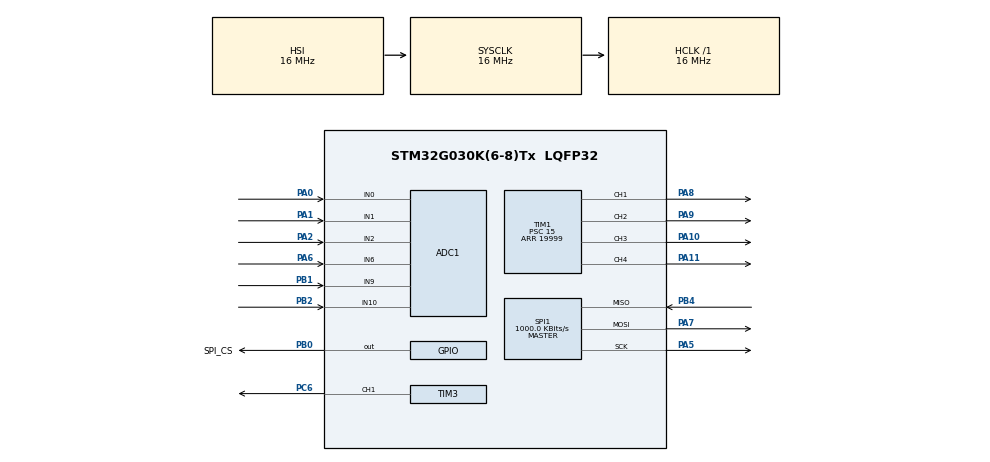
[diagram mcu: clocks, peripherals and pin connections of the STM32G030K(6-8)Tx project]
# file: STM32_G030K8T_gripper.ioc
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ADC1.Channel-0\#ChannelRegularConversion=ADC_CHANNEL_0
ADC1.Channel-1\#ChannelRegularConversion=ADC_CHANNEL_1
ADC1.Channel-2\#ChannelRegularConversion=ADC_CHANNEL_2
ADC1.ClockPrescaler=ADC_CLOCK_ASYNC_DIV2
ADC1.ContinuousConvMode=DISABLE
ADC1.DMAContinuousRequests=ENABLE
ADC1.EOCSelection=ADC_EOC_SEQ_CONV
ADC1.ExternalTrigConv=ADC_EXTERNALTRIG_T3_TRGO
ADC1.NbrOfConversion=3
ADC1.NbrOfConversionFlag=1
ADC1.Overrun=ADC_OVR_DATA_OVERWRITTEN
ADC1.Rank-0\#ChannelRegularConversion=1
ADC1.Rank-1\#ChannelRegularConversion=2
ADC1.Rank-2\#ChannelRegularConversion=3
ADC1.SamplingTime-0\#ChannelRegularConversion=ADC_SAMPLINGTIME_COMMON_1
ADC1.SamplingTime-1\#ChannelRegularConversion=ADC_SAMPLINGTIME_COMMON_2
ADC1.SamplingTime-2\#ChannelRegularConversion=ADC_SAMPLINGTIME_COMMON_1
ADC1.SamplingTimeCommon1=ADC_SAMPLETIME_3CYCLES_5
ADC1.SamplingTimeCommon2=ADC_SAMPLETIME_3CYCLES_5
ADC1.SelectedChannel=ADC_CHANNEL_0|ADC_CHANNEL_1|ADC_CHANNEL_2|ADC_CHANNEL_6|ADC_CHANNEL_9|ADC_CHANNEL_10
ADC1.master=1
Dma.ADC1.0.Direction=DMA_PERIPH_TO_MEMORY
Dma.ADC1.0.EventEnable=DISABLE
Dma.ADC1.0.Instance=DMA1_Channel1
Dma.ADC1.0.MemDataAlignment=DMA_MDATAALIGN_HALFWORD
Dma.ADC1.0.MemInc=DMA_MINC_ENABLE
Dma.ADC1.0.Mode=DMA_CIRCULAR
Dma.ADC1.0.PeriphDataAlignment=DMA_PDATAALIGN_HALFWORD
Dma.ADC1.0.PeriphInc=DMA_PINC_DISABLE
Dma.ADC1.0.Polarity=HAL_DMAMUX_REQ_GEN_RISING
Dma.ADC1.0.Priority=DMA_PRIORITY_LOW
Dma.ADC1.0.RequestNumber=1
Dma.ADC1.0.SignalID=NONE
Dma.ADC1.0.SyncEnable=DISABLE
Dma.ADC1.0.SyncPolarity=HAL_DMAMUX_SYNC_NO_EVENT
Dma.ADC1.0.SyncRequestNumber=1
Dma.ADC1.0.SyncSignalID=NONE
Dma.Request0=ADC1
Mcu.Family=STM32G0
Mcu.Name=STM32G030K(6-8)Tx
Mcu.Package=LQFP32
NVIC.ADC1_IRQn=true\:0\:0\:false\:false\:true\:true\:true\:true
NVIC.DMA1_Channel1_IRQn=true\:0\:0\:false\:false\:true\:false\:true\:true
NVIC.TIM14_IRQn=true\:0\:0\:false\:false\:true\:true\:true\:true
NVIC.TIM3_IRQn=true\:0\:0\:false\:false\:true\:true\:true\:true
PA0.Mode=IN0
PA0.Signal=ADC1_IN0
PA1.Mode=IN1
PA1.Signal=ADC1_IN1
PA10.Signal=S_TIM1_CH3
PA11\ [PA9].Signal=S_TIM1_CH4
PA13.Mode=Serial_Wire
PA13.Signal=SYS_SWDIO
PA14-BOOT0.Mode=Serial_Wire
PA14-BOOT0.Signal=SYS_SWCLK
PA2.Mode=IN2
PA2.Signal=ADC1_IN2
PA5.Mode=Full_Duplex_Master
PA5.Signal=SPI1_SCK
PA6.Mode=IN6
PA6.Signal=ADC1_IN6
PA7.Mode=Full_Duplex_Master
PA7.Signal=SPI1_MOSI
PA8.Signal=S_TIM1_CH1
PA9.Signal=S_TIM1_CH2
PB0.GPIO_Label=SPI_CS
PB0.GPIO_Speed=GPIO_SPEED_FREQ_HIGH
PB0.PinState=GPIO_PIN_SET
PB0.Signal=GPIO_Output
PB1.Mode=IN9
PB1.Signal=ADC1_IN9
PB2.Mode=IN10
PB2.Signal=ADC1_IN10
PB4.Mode=Full_Duplex_Master
PB4.Signal=SPI1_MISO
PC6.Signal=S_TIM3_CH1
ProjectManager.HeapSize=0x200
ProjectManager.StackSize=0x400
ProjectManager.TargetToolchain=STM32CubeIDE
RCC.AHBFreq_Value=16000000
RCC.CortexFreq_Value=16000000
RCC.EXTERNAL_CLOCK_VALUE=12288000
RCC.HCLKFreq_Value=16000000
RCC.HSE_VALUE=8000000
RCC.HSI_VALUE=16000000
RCC.LSE_VALUE=32768
RCC.SYSCLKFreq_VALUE=16000000
RCC.VCOOutputFreq_Value=128000000
SH.S_TIM1_CH1.0=TIM1_CH1,PWM Generation1 CH1
SH.S_TIM1_CH2.0=TIM1_CH2,PWM Generation2 CH2
SH.S_TIM1_CH3.0=TIM1_CH3,PWM Generation3 CH3
SH.S_TIM1_CH4.0=TIM1_CH4,PWM Generation4 CH4
SH.S_TIM3_CH1.0=TIM3_CH1,PWM Generation1 CH1
SPI1.BaudRatePrescaler=SPI_BAUDRATEPRESCALER_16
SPI1.CalculateBaudRate=1000.0 KBits/s
SPI1.Direction=SPI_DIRECTION_2LINES
SPI1.Mode=SPI_MODE_MASTER
SPI1.VirtualType=VM_MASTER
TIM1.AutoReloadPreload=TIM_AUTORELOAD_PRELOAD_ENABLE
TIM1.Channel-PWM\ Generation1\ CH1=TIM_CHANNEL_1
TIM1.Channel-PWM\ Generation2\ CH2=TIM_CHANNEL_2
TIM1.Channel-PWM\ Generation3\ CH3=TIM_CHANNEL_3
TIM1.Channel-PWM\ Generation4\ CH4=TIM_CHANNEL_4
TIM1.Period=19999
TIM1.Prescaler=15
TIM14.Period=29999
TIM14.Prescaler=15
TIM3.AutoReloadPreload=TIM_AUTORELOAD_PRELOAD_ENABLE
TIM3.Channel-PWM\ Generation1\ CH1=TIM_CHANNEL_1
TIM3.Period=499
TIM3.Prescaler=15
TIM3.TIM_MasterOutputTrigger=TIM_TRGO_UPDATE
VP_TIM14_VS_ClockSourceINT.Mode=Enable_Timer
VP_TIM3_VS_ClockSourceINT.Mode=Internal
board=custom

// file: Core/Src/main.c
/* USER CODE BEGIN Header */
/**
  ******************************************************************************
  * @file           : main.c
  * @brief          : Main program body
  ******************************************************************************
  * @attention
  *
  * Copyright (c) 2023 STMicroelectronics.
  * All rights reserved.
  *
  * This software is licensed under terms that can be found in the LICENSE file
  * in the root directory of this software component.
  * If no LICENSE file comes with this software, it is provided AS-IS.
  *
  ******************************************************************************
  */
/* USER CODE END Header */
#include "main.h"
#include "adc.h"
#include "dma.h"
#include "spi.h"
#include "tim.h"
#include "gpio.h"

/* USER CODE BEGIN Includes */
#include "../../App/inc/servo_driver.h"
#include "../../App/inc/MCP3008.h"
#include "math.h"
#include "stdbool.h"
/* USER CODE END Includes */

/* USER CODE BEGIN PTD */
#define RMS_FRAME_LEN 100
typedef struct AdcRMS_t {
	uint8_t lastAdcIndex;
	uint16_t rawADC[RMS_FRAME_LEN];
	float adcRMS;
}AdcRMS_t;
/* USER CODE END PTD */

/* USER CODE BEGIN PV */
volatile uint16_t g_adcVal[3];
MCP3008_SPI spi_mpc3008;
//volatile uint16_t adc[3] = { 0 };
uint16_t result[3];
uint16_t cnt = 0;
volatile AdcRMS_t g_adcRMS[3];
Servo servo;
bool g_updateAdcRMS = false;
/* USER CODE END PV */

void SystemClock_Config(void);
/* USER CODE BEGIN PFP */
float CalculateRMS(volatile AdcRMS_t *adc);
void ResetAdcRMSCalculation(volatile AdcRMS_t *adc);
void WriteNewAdcValue(volatile AdcRMS_t *adc, volatile uint16_t adc_val[1]);
void UpdateAdcRMS();
/* USER CODE END PFP */

int main(void)
{

  /* MCU Configuration--------------------------------------------------------*/

  /* Reset of all peripherals, Initializes the Flash interface and the Systick. */
  HAL_Init();

  /* Configure the system clock */
  SystemClock_Config();

  /* Initialize all configured peripherals */
  MX_GPIO_Init();
  MX_DMA_Init();
  MX_ADC1_Init();
  MX_TIM1_Init();
  MX_TIM3_Init();
  MX_SPI1_Init();
  MX_TIM14_Init();
  /* USER CODE BEGIN 2 */
//  HAL_GPIO_Init(TEMP_GPIO_POTENTIOMETER_GPIO_Port, )
//  HAL_GPIO_WritePin(TEMP_GPIO_POTENTIOMETER_GPIO_Port, TEMP_GPIO_POTENTIOMETER_Pin, 1);
//  HAL_Delay(2000);
  SRV_Initialise(&servo, &SERVO_0_TIMER, SERVO_0_CHANNEL, 90);
  SRV_Set(&servo, 10);
  SRV_Enable(&servo);
  SRV_GoToPosition(&servo);
  for(int i = 0; i < 3; i++){
	  g_adcRMS[i].lastAdcIndex = 0;
	  ResetAdcRMSCalculation(&g_adcRMS[i]);
  }
  HAL_TIM_Base_Start_IT(&htim3);
  HAL_TIM_Base_Start_IT(&htim14);
  HAL_ADC_Start_DMA(&hadc1, g_adcVal, 3);

//  for(int i = 0 ; i < 3; i++){
//	  HAL_ADC_Start(&hadc1);
//	  HAL_ADC_PollForConversion(&hadc1, 100);
//	  g_adcVal[i] = HAL_ADC_GetValue(&hadc1);
//  }

//  MCP_Init(&spi_mpc3008, &hspi1, SPI_CS_GPIO_Port, SPI_CS_Pin);
//  for (int i = 0; i < 8; i++) {
//    adc[i] = MCP_Read_Channel(&spi_mpc3008, i);
//  }

  /* USER CODE END 2 */

  /* Infinite loop */
  /* USER CODE BEGIN WHILE */
  while (1) {
    //	  HAL_GPIO_TogglePin(TEMP_GPIO_POTENTIOMETER_GPIO_Port, TEMP_GPIO_POTENTIOMETER_Pin);
//    if (servo.currentPosition <= 40) {
//      servo.targetPosition = 140;
//    }
//    else if (servo.currentPosition >= 140) {
//      servo.targetPosition = 40;
//    }

//    HAL_Delay(servo.stepTime);
    if(g_updateAdcRMS){
    	UpdateAdcRMS();
    }
//    result[1] -= 2122;

//    for(int i = 0 ; i < 3; i++){
//		  HAL_ADC_Start(&hadc1);
//    	  HAL_ADC_PollForConversion(&hadc1, 100);
//    	  g_adcVal = hadc1->Instance->DR;
//    	  g_adcVal[0] = HAL_ADC_GetValue(&hadc1);
//    	  g_adcVal[1] = HAL_ADC_GetValue(&hadc1);
//    	  g_adcVal[2] = HAL_ADC_GetValue(&hadc1);
//      }
    //	  HAL_GPIO_WritePin(spi_mpc3008.CS_PORT, spi_mpc3008.CS_PIN, GPIO_PIN_RESET);
    //	  HAL_Delay(500);
    //	  HAL_GPIO_WritePin(spi_mpc3008.CS_PORT, spi_mpc3008.CS_PIN, GPIO_PIN_SET);
//    for (int i = 0; i < 8; i++) {
//      adc[i] = MCP_Read_Channel(&spi_mpc3008, i);
//    }
    /* USER CODE END WHILE */

  }
}

void SystemClock_Config(void)
{
  RCC_OscInitTypeDef RCC_OscInitStruct = {0};
  RCC_ClkInitTypeDef RCC_ClkInitStruct = {0};

  /** Configure the main internal regulator output voltage
  */
  HAL_PWREx_ControlVoltageScaling(PWR_REGULATOR_VOLTAGE_SCALE1);

  /** Initializes the RCC Oscillators according to the specified parameters
  * in the RCC_OscInitTypeDef structure.
  */
  RCC_OscInitStruct.OscillatorType = RCC_OSCILLATORTYPE_HSI;
  RCC_OscInitStruct.HSIState = RCC_HSI_ON;
  RCC_OscInitStruct.HSIDiv = RCC_HSI_DIV1;
  RCC_OscInitStruct.HSICalibrationValue = RCC_HSICALIBRATION_DEFAULT;
  RCC_OscInitStruct.PLL.PLLState = RCC_PLL_NONE;
  if (HAL_RCC_OscConfig(&RCC_OscInitStruct) != HAL_OK)
  {
    Error_Handler();
  }

  /** Initializes the CPU, AHB and APB buses clocks
  */
  RCC_ClkInitStruct.ClockType = RCC_CLOCKTYPE_HCLK|RCC_CLOCKTYPE_SYSCLK
                              |RCC_CLOCKTYPE_PCLK1;
  RCC_ClkInitStruct.SYSCLKSource = RCC_SYSCLKSOURCE_HSI;
  RCC_ClkInitStruct.AHBCLKDivider = RCC_SYSCLK_DIV1;
  RCC_ClkInitStruct.APB1CLKDivider = RCC_HCLK_DIV1;

  if (HAL_RCC_ClockConfig(&RCC_ClkInitStruct, FLASH_LATENCY_0) != HAL_OK)
  {
    Error_Handler();
  }
}

/* USER CODE BEGIN 4 */
float CalculateRMS(volatile AdcRMS_t *adc) {
	/**
	 * @brief Calculate Root Mean Square with moving frame value
	 * @retval Root Mean Square value
	 */

	uint32_t square = 0;
	float mean = 0.0;
//	float square_root = 0.0;

	for (uint8_t i = 0; i < RMS_FRAME_LEN; i++) {
		square += powf(adc->rawADC[i], 2);
	}

	mean = (square / (float) RMS_FRAME_LEN);
	adc->adcRMS = sqrtf(mean);
	return adc->adcRMS;
//	square_root = sqrtf(mean);
//	return square_root;
}

void ResetAdcRMSCalculation(volatile AdcRMS_t* adc) {
	/* initialize array with zeros */
	for (uint8_t i = 0; i < RMS_FRAME_LEN - 1; i++) {
		adc->rawADC[i] = 0;
	}
}

void WriteNewAdcValue(volatile AdcRMS_t *adc, volatile uint16_t *adc_val) {
	adc->rawADC[adc->lastAdcIndex] = *adc_val;
	if(adc->lastAdcIndex >= RMS_FRAME_LEN){
		adc->lastAdcIndex = 0;
	}
//	CalculateRMS(adc);
	adc->lastAdcIndex++;
}

void UpdateAdcRMS(){
	 for(int i = 0; i < 3; i++){
//		  WriteNewAdcValue(&g_adcRMS[i], &g_adcVal[i]);
		  CalculateRMS(&g_adcRMS[i]);
	  }
}

void HAL_TIM_PeriodElapsedCallback(TIM_HandleTypeDef *htim)
{
  // Check which version of the timer triggered this callback and toggle LED
  if (htim == &htim3 ) {
	  for(int i = 0; i < 3; i++){
	  		  WriteNewAdcValue(&g_adcRMS[i], &g_adcVal[i]);
	  	  }
	 g_updateAdcRMS = true;
  }
  if (htim == &htim14 ) {
//	  SRV_GoToPosition(&servo);
    }
}

/* USER CODE END 4 */

void Error_Handler(void)
{
  __disable_irq();
  while (1) {
  }
}
